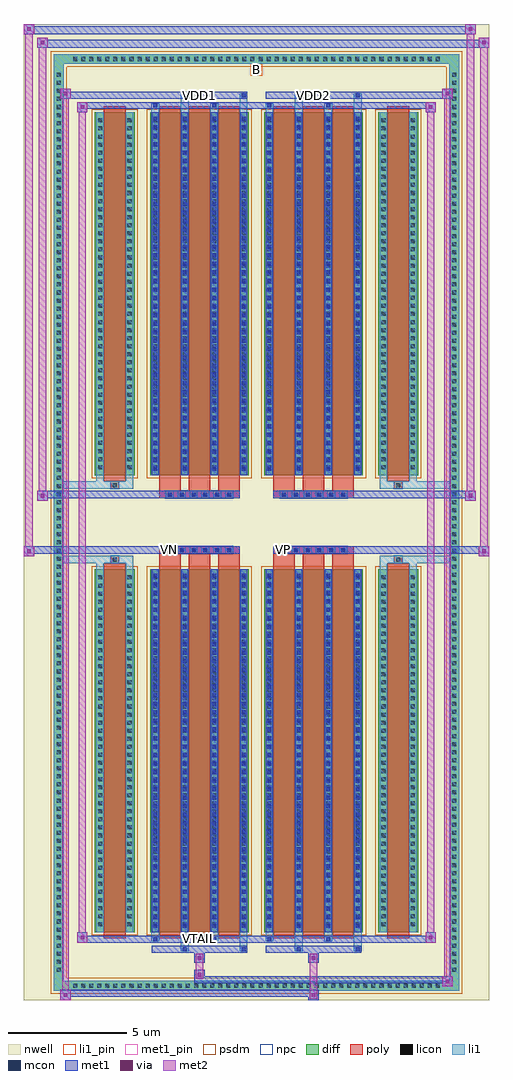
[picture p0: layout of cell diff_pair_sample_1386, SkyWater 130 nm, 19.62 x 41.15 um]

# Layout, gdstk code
import gdstk
lib = gdstk.Library(unit=1e-6, precision=5e-09)
def R(c, l, rs):  # rectangles x0, y0, x1, y1
    for r in rs: c.add(gdstk.rectangle(r[:2], r[2:], *l))
def A(c, l, x, y, w, h, nx, ny, dx, dy):  # array of equal rectangles
    R(c, l, [(x+i*dx, y+j*dy, x+i*dx+w, y+j*dy+h) for i in range(nx) for j in range(ny)])
def P(c, l, *ps):  # polygons
    for p in ps: c.add(gdstk.Polygon(p, *l))
nwell = (64, 20)
diff = (65, 20)
poly = (66, 20)
licon = (66, 44)
li1_pin = (67, 16)
li1 = (67, 20)
mcon = (67, 44)
met1_pin = (68, 16)
met1 = (68, 20)
via = (68, 44)
met2 = (69, 20)
psdm = (94, 20)
npc = (95, 20)

diff_pair_sample_1386 = lib.new_cell('diff_pair_sample_1386')
R(diff_pair_sample_1386, nwell, [(-9.81,-20.14,9.81,21.01), (-7.13,-18.33,-0.01,-0.805), (0.01,-18.33,7.13,-0.805), (-7.13,0.805,-0.01,18.33), (0.01,0.805,7.13,18.33)])
A(diff_pair_sample_1386, diff, -7.855, -19.74, 0.41, 0.41, 46, 2, 0.34, 39.07)
A(diff_pair_sample_1386, diff, -8.54, -19.075, 0.41, 0.41, 1, 112, 0, 0.34)
A(diff_pair_sample_1386, diff, 8.13, -19.075, 0.41, 0.41, 1, 112, 0, 0.34)
R(diff_pair_sample_1386, diff, [(-7.855,-19.74,7.855,-19.33), (-8.54,-19.075,-8.13,19.075), (8.13,-19.075,8.54,19.075), (-6.82,-17.285,-5.13,-1.985), (-4.49,-17.285,-0.32,-1.985), (0.32,-17.285,4.49,-1.985), (5.13,-17.285,6.82,-1.985), (-6.82,1.985,-5.13,17.285), (-4.49,1.985,-0.32,17.285), (0.32,1.985,4.49,17.285), (5.13,1.985,6.82,17.285), (-7.855,19.33,7.855,19.74)])
P(diff_pair_sample_1386, diff, [(8.54,19.74),(-8.54,19.74),(-8.54,-19.33),(-8.13,-19.33),(-8.13,19.33),(8.13,19.33),(8.13,-19.33),(-8.13,-19.33),(-8.54,-19.33),(-8.54,-19.74),(8.54,-19.74)])
A(diff_pair_sample_1386, poly, -4.1, -17.535, 0.91, 15.8, 3, 2, 1.24, 19.27)
A(diff_pair_sample_1386, poly, 0.71, -17.535, 0.91, 15.8, 3, 2, 1.24, 19.27)
A(diff_pair_sample_1386, poly, -4.1, -1.735, 0.91, 0.4, 3, 2, 1.24, 3.07)
A(diff_pair_sample_1386, poly, 0.71, -1.735, 0.91, 0.4, 3, 2, 1.24, 3.07)
A(diff_pair_sample_1386, poly, -3.82, -1.335, 0.33, 0.33, 6, 2, 0.5, 2.34)
A(diff_pair_sample_1386, poly, 0.99, -1.335, 0.33, 0.33, 6, 2, 0.5, 2.34)
R(diff_pair_sample_1386, poly, [(-6.43,-17.535,-5.52,-1.735), (5.52,-17.535,6.43,-1.735), (-6.14,-1.735,-5.81,-1.405), (-6.14,-1.735,-5.81,-1.405), (5.81,-1.735,6.14,-1.405), (5.81,-1.735,6.14,-1.405), (-4.1,-1.335,-0.71,-1.005), (0.71,-1.335,4.1,-1.005), (-4.1,1.005,-0.71,1.335), (0.71,1.005,4.1,1.335), (-6.14,1.405,-5.81,1.735), (-6.14,1.405,-5.81,1.735), (5.81,1.405,6.14,1.735), (5.81,1.405,6.14,1.735), (-6.43,1.735,-5.52,17.535), (5.52,1.735,6.43,17.535)])
A(diff_pair_sample_1386, licon, -7.735, -19.62, 0.17, 0.17, 46, 2, 0.34, 39.07)
A(diff_pair_sample_1386, licon, -8.42, -18.955, 0.17, 0.17, 1, 112, 0, 0.34)
A(diff_pair_sample_1386, licon, 8.25, -18.955, 0.17, 0.17, 1, 112, 0, 0.34)
A(diff_pair_sample_1386, licon, -6.68, -17.03, 0.17, 0.17, 1, 44, 0, 0.34)
A(diff_pair_sample_1386, licon, -5.44, -17.03, 0.17, 0.17, 1, 44, 0, 0.34)
A(diff_pair_sample_1386, licon, -4.35, -17.03, 0.17, 0.17, 4, 44, 1.24, 0.34)
A(diff_pair_sample_1386, licon, 0.46, -17.03, 0.17, 0.17, 4, 44, 1.24, 0.34)
A(diff_pair_sample_1386, licon, 5.27, -17.03, 0.17, 0.17, 1, 44, 0, 0.34)
A(diff_pair_sample_1386, licon, 6.51, -17.03, 0.17, 0.17, 1, 44, 0, 0.34)
A(diff_pair_sample_1386, licon, -3.74, -1.255, 0.17, 0.17, 6, 2, 0.5, 2.34)
A(diff_pair_sample_1386, licon, 1.07, -1.255, 0.17, 0.17, 6, 2, 0.5, 2.34)
A(diff_pair_sample_1386, licon, -6.68, 2.24, 0.17, 0.17, 1, 44, 0, 0.34)
A(diff_pair_sample_1386, licon, -5.44, 2.24, 0.17, 0.17, 1, 44, 0, 0.34)
A(diff_pair_sample_1386, licon, -4.35, 2.24, 0.17, 0.17, 4, 44, 1.24, 0.34)
A(diff_pair_sample_1386, licon, 0.46, 2.24, 0.17, 0.17, 4, 44, 1.24, 0.34)
A(diff_pair_sample_1386, licon, 5.27, 2.24, 0.17, 0.17, 1, 44, 0, 0.34)
A(diff_pair_sample_1386, licon, 6.51, 2.24, 0.17, 0.17, 1, 44, 0, 0.34)
R(diff_pair_sample_1386, licon, [(-6.06,-1.655,-5.89,-1.485), (5.89,-1.655,6.06,-1.485), (-6.06,1.485,-5.89,1.655), (5.89,1.485,6.06,1.655)])
R(diff_pair_sample_1386, li1_pin, [(-0.25,18.83,0.25,19.33)])
A(diff_pair_sample_1386, li1, -7.815, -19.7, 0.33, 0.33, 46, 2, 0.34, 39.07)
A(diff_pair_sample_1386, li1, -8.5, -19.035, 0.33, 0.33, 1, 112, 0, 0.34)
A(diff_pair_sample_1386, li1, 8.17, -19.035, 0.33, 0.33, 1, 112, 0, 0.34)
A(diff_pair_sample_1386, li1, -4.43, -17.285, 0.33, 15.3, 4, 2, 1.24, 19.27)
A(diff_pair_sample_1386, li1, 0.38, -17.285, 0.33, 15.3, 4, 2, 1.24, 19.27)
A(diff_pair_sample_1386, li1, -6.76, -17.11, 0.33, 0.33, 1, 44, 0, 0.34)
A(diff_pair_sample_1386, li1, -5.52, -17.11, 0.33, 0.33, 1, 44, 0, 0.34)
A(diff_pair_sample_1386, li1, -4.43, -17.11, 0.33, 0.33, 4, 44, 1.24, 0.34)
A(diff_pair_sample_1386, li1, 0.38, -17.11, 0.33, 0.33, 4, 44, 1.24, 0.34)
A(diff_pair_sample_1386, li1, 5.19, -17.11, 0.33, 0.33, 1, 44, 0, 0.34)
A(diff_pair_sample_1386, li1, 6.43, -17.11, 0.33, 0.33, 1, 44, 0, 0.34)
A(diff_pair_sample_1386, li1, -4.35, -17.1, 0.17, 0.17, 4, 42, 1.24, 0.36)
A(diff_pair_sample_1386, li1, -4.35, -17.1, 0.17, 14.93, 4, 2, 1.24, 19.27)
A(diff_pair_sample_1386, li1, 0.46, -17.1, 0.17, 0.17, 4, 42, 1.24, 0.36)
A(diff_pair_sample_1386, li1, 0.46, -17.1, 0.17, 14.93, 4, 2, 1.24, 19.27)
A(diff_pair_sample_1386, li1, -3.82, -1.335, 0.33, 0.33, 6, 2, 0.5, 2.34)
A(diff_pair_sample_1386, li1, 0.99, -1.335, 0.33, 0.33, 6, 2, 0.5, 2.34)
A(diff_pair_sample_1386, li1, -6.76, 2.16, 0.33, 0.33, 1, 44, 0, 0.34)
A(diff_pair_sample_1386, li1, -5.52, 2.16, 0.33, 0.33, 1, 44, 0, 0.34)
A(diff_pair_sample_1386, li1, -4.43, 2.16, 0.33, 0.33, 4, 44, 1.24, 0.34)
A(diff_pair_sample_1386, li1, 0.38, 2.16, 0.33, 0.33, 4, 44, 1.24, 0.34)
A(diff_pair_sample_1386, li1, 5.19, 2.16, 0.33, 0.33, 1, 44, 0, 0.34)
A(diff_pair_sample_1386, li1, 6.43, 2.16, 0.33, 0.33, 1, 44, 0, 0.34)
A(diff_pair_sample_1386, li1, -4.35, 2.17, 0.17, 0.17, 4, 42, 1.24, 0.36)
A(diff_pair_sample_1386, li1, 0.46, 2.17, 0.17, 0.17, 4, 42, 1.24, 0.36)
R(diff_pair_sample_1386, li1, [(-8.54,-19.74,-8.13,-19.33), (-8.54,-19.74,-8.13,-19.33), (-8.13,-19.74,8.13,-19.33), (8.13,-19.74,8.54,-19.33), (8.13,-19.74,8.54,-19.33), (-8.54,-19.33,-8.13,19.33), (8.13,-19.33,8.54,19.33), (-3.19,-18.09,-2.86,-17.285), (-3.11,-18.09,-2.94,-17.92), (-0.71,-18.09,-0.38,-17.285), (-0.63,-18.09,-0.46,-17.92), (1.62,-18.09,1.95,-17.285), (1.7,-18.09,1.87,-17.92), (4.1,-18.09,4.43,-17.285), (4.18,-18.09,4.35,-17.92), (-4.43,-17.66,-4.1,-17.285), (-4.35,-17.66,-4.18,-17.49), (-1.95,-17.66,-1.62,-17.285), (-1.87,-17.66,-1.7,-17.49), (0.38,-17.66,0.71,-17.285), (0.46,-17.66,0.63,-17.49), (2.86,-17.66,3.19,-17.285), (2.94,-17.66,3.11,-17.49), (-6.76,-17.285,-6.43,-1.985), (-5.52,-17.285,-5.19,-1.985), (5.19,-17.285,5.52,-1.985), (6.43,-17.285,6.76,-1.985), (-6.76,-1.985,-6.43,-1.405), (-5.52,-1.985,-5.19,-1.405), (5.19,-1.985,5.52,-1.405), (6.43,-1.985,6.76,-1.405), (-8.54,-1.735,-6.14,-1.405), (-6.76,-1.735,-6.14,-1.405), (-6.14,-1.735,-5.81,-1.405), (-5.81,-1.735,-5.19,-1.405), (5.19,-1.735,5.81,-1.405), (5.81,-1.735,6.14,-1.405), (5.81,-1.735,8.54,-1.405), (6.14,-1.735,6.76,-1.405), (-8.54,1.405,-6.14,1.735), (-6.76,1.405,-6.14,1.735), (-6.76,1.405,-6.43,1.985), (-6.14,1.405,-5.81,1.735), (-5.81,1.405,-5.19,1.735), (-5.52,1.405,-5.19,1.985), (5.19,1.405,5.81,1.735), (5.19,1.405,5.52,1.985), (5.81,1.405,6.14,1.735), (5.81,1.405,8.54,1.735), (6.14,1.405,6.76,1.735), (6.43,1.405,6.76,1.985), (-6.76,1.985,-6.43,17.285), (-5.52,1.985,-5.19,17.285), (5.19,1.985,5.52,17.285), (6.43,1.985,6.76,17.285), (-4.43,17.285,-4.1,17.66), (-3.19,17.285,-2.86,18.09), (-1.95,17.285,-1.62,17.66), (-0.71,17.285,-0.38,18.09), (0.38,17.285,0.71,17.66), (1.62,17.285,1.95,18.09), (2.86,17.285,3.19,17.66), (4.1,17.285,4.43,18.09), (-4.35,17.49,-4.18,17.66), (-1.87,17.49,-1.7,17.66), (0.46,17.49,0.63,17.66), (2.94,17.49,3.11,17.66), (-3.11,17.92,-2.94,18.09), (-0.63,17.92,-0.46,18.09), (1.7,17.92,1.87,18.09), (4.18,17.92,4.35,18.09), (-8.54,19.33,-8.13,19.74), (-8.54,19.33,-8.13,19.74), (-8.13,19.33,8.13,19.74), (8.13,19.33,8.54,19.74), (8.13,19.33,8.54,19.74)])
A(diff_pair_sample_1386, mcon, -4.35, -17.1, 0.17, 0.17, 4, 42, 1.24, 0.36)
A(diff_pair_sample_1386, mcon, 0.46, -17.1, 0.17, 0.17, 4, 42, 1.24, 0.36)
A(diff_pair_sample_1386, mcon, -3.74, -1.255, 0.17, 0.17, 6, 2, 0.5, 2.34)
A(diff_pair_sample_1386, mcon, 1.07, -1.255, 0.17, 0.17, 6, 2, 0.5, 2.34)
A(diff_pair_sample_1386, mcon, -4.35, 2.17, 0.17, 0.17, 4, 42, 1.24, 0.36)
A(diff_pair_sample_1386, mcon, 0.46, 2.17, 0.17, 0.17, 4, 42, 1.24, 0.36)
R(diff_pair_sample_1386, mcon, [(-3.11,-18.09,-2.94,-17.92), (-0.63,-18.09,-0.46,-17.92), (1.7,-18.09,1.87,-17.92), (4.18,-18.09,4.35,-17.92), (-4.35,-17.66,-4.18,-17.49), (-1.87,-17.66,-1.7,-17.49), (0.46,-17.66,0.63,-17.49), (2.94,-17.66,3.11,-17.49), (-4.35,17.49,-4.18,17.66), (-1.87,17.49,-1.7,17.66), (0.46,17.49,0.63,17.66), (2.94,17.49,3.11,17.66), (-3.11,17.92,-2.94,18.09), (-0.63,17.92,-0.46,18.09), (1.7,17.92,1.87,18.09), (4.18,17.92,4.35,18.09)])
R(diff_pair_sample_1386, met1_pin, [(-2.54,-17.7,-2.27,-17.43), (-3.79,-1.295,-3.52,-1.025), (1.02,-1.295,1.29,-1.025), (-2.54,17.88,-2.27,18.15), (2.27,17.88,2.54,18.15)])
A(diff_pair_sample_1386, met1, -4.41, -17.285, 0.29, 15.3, 4, 2, 1.24, 19.27)
A(diff_pair_sample_1386, met1, 0.4, -17.285, 0.29, 15.3, 4, 2, 1.24, 19.27)
A(diff_pair_sample_1386, met1, -4.41, -17.16, 0.29, 0.29, 4, 42, 1.24, 0.36)
A(diff_pair_sample_1386, met1, 0.4, -17.16, 0.29, 0.29, 4, 42, 1.24, 0.36)
A(diff_pair_sample_1386, met1, -3.8, -1.315, 0.29, 0.29, 6, 2, 0.5, 2.34)
A(diff_pair_sample_1386, met1, 1.01, -1.315, 0.29, 0.29, 6, 2, 0.5, 2.34)
A(diff_pair_sample_1386, met1, -4.41, 2.11, 0.29, 0.29, 4, 42, 1.24, 0.36)
A(diff_pair_sample_1386, met1, 0.4, 2.11, 0.29, 0.29, 4, 42, 1.24, 0.36)
R(diff_pair_sample_1386, met1, [(-8.27,-20.14,-7.84,-19.71), (2.19,-20.14,2.62,-19.71), (-8.27,-20,2.62,-19.71), (7.84,-19.57,8.27,-19.14), (-2.62,-19.43,8.27,-19.14), (-2.62,-19.29,-2.19,-18.86), (-2.62,-18.58,-2.19,-18.15), (2.19,-18.58,2.62,-18.15), (-4.41,-18.15,-0.4,-17.86), (-3.17,-18.15,-2.88,-17.86), (-0.69,-18.15,-0.4,-17.86), (0.4,-18.15,4.41,-17.86), (1.64,-18.15,1.93,-17.86), (4.12,-18.15,4.41,-17.86), (-7.56,-17.72,-7.13,-17.29), (-7.56,-17.72,-4.41,-17.43), (-4.41,-17.72,-4.12,-17.43), (-4.41,-17.72,-0.4,-17.43), (-1.93,-17.72,-1.64,-17.43), (-0.4,-17.72,0.4,-17.43), (0.4,-17.72,0.69,-17.43), (0.4,-17.72,4.41,-17.43), (2.88,-17.72,3.17,-17.43), (4.41,-17.72,7.56,-17.43), (7.13,-17.72,7.56,-17.29), (-9.81,-1.435,-9.38,-1.005), (9.38,-1.435,9.81,-1.005), (-9.81,-1.335,-0.71,-1.005), (-4.1,-1.335,-0.71,-1.005), (0.71,-1.335,4.1,-1.005), (0.71,-1.335,9.81,-1.005), (-9.24,0.905,-8.81,1.335), (8.81,0.905,9.24,1.335), (-9.24,1.005,-4.1,1.335), (-4.1,1.005,-0.71,1.335), (0.71,1.005,4.1,1.335), (4.1,1.005,9.24,1.335), (-7.56,17.29,-7.13,17.72), (7.13,17.29,7.56,17.72), (-7.56,17.43,-4.41,17.72), (-4.41,17.43,-4.12,17.72), (-4.41,17.43,-0.4,17.72), (-1.93,17.43,-1.64,17.72), (-0.4,17.43,0.4,17.72), (0.4,17.43,0.69,17.72), (0.4,17.43,4.41,17.72), (2.88,17.43,3.17,17.72), (4.41,17.43,7.56,17.72), (-8.27,17.86,-7.84,18.29), (-8.27,17.86,-4.41,18.15), (-4.41,17.86,-0.4,18.15), (-3.17,17.86,-2.88,18.15), (-0.69,17.86,-0.4,18.15), (0.4,17.86,4.41,18.15), (1.64,17.86,1.93,18.15), (4.12,17.86,4.41,18.15), (4.41,17.86,8.27,18.15), (7.84,17.86,8.27,18.29), (-9.24,20.01,-8.81,20.44), (-9.24,20.01,-7.13,20.34), (-7.13,20.01,7.13,20.34), (7.13,20.01,9.81,20.34), (9.38,20.01,9.81,20.44), (-9.81,20.58,-9.38,21.01), (-9.81,20.58,-7.13,20.91), (-7.13,20.58,7.13,20.91), (7.13,20.58,9.24,20.91), (8.81,20.58,9.24,21.01)])
R(diff_pair_sample_1386, via, [(-8.13,-20,-7.98,-19.85), (2.33,-20,2.48,-19.85), (7.98,-19.43,8.13,-19.28), (-2.48,-19.15,-2.33,-19), (-2.48,-18.44,-2.33,-18.29), (2.33,-18.44,2.48,-18.29), (-7.42,-17.58,-7.27,-17.43), (7.27,-17.58,7.42,-17.43), (-9.67,-1.295,-9.52,-1.145), (9.52,-1.295,9.67,-1.145), (-9.1,1.045,-8.95,1.195), (8.95,1.045,9.1,1.195), (-7.42,17.43,-7.27,17.58), (7.27,17.43,7.42,17.58), (-8.13,18,-7.98,18.15), (7.98,18,8.13,18.15), (-9.1,20.15,-8.95,20.3), (9.52,20.15,9.67,20.3), (-9.67,20.72,-9.52,20.87), (8.95,20.72,9.1,20.87)])
R(diff_pair_sample_1386, met2, [(-8.27,-20.14,-7.84,-19.71), (-8.2,-20.14,-7.91,18.29), (-7.91,-20.14,-7.84,-19.71), (-8.22,-20.09,-7.89,-19.76), (2.24,-20.09,2.57,-19.76), (2.24,-19.76,2.57,-18.53), (7.84,-19.57,8.27,-19.14), (7.91,-19.57,8.2,18.29), (8.2,-19.57,8.27,-19.14), (7.89,-19.52,8.22,-19.19), (-2.57,-19.24,-2.24,-18.91), (-2.57,-18.91,-2.24,-18.53), (-2.57,-18.53,-2.24,-18.2), (2.24,-18.53,2.57,-18.2), (-7.56,-17.72,-7.13,-17.29), (-7.49,-17.72,-7.2,17.72), (-7.2,-17.72,-7.13,-17.29), (7.13,-17.72,7.56,-17.29), (7.2,-17.72,7.49,17.72), (7.49,-17.72,7.56,-17.29), (-7.51,-17.67,-7.18,-17.34), (7.18,-17.67,7.51,-17.34), (-9.81,-1.435,-9.38,-1.005), (-9.76,-1.435,-9.43,21.01), (-9.43,-1.435,-9.38,-1.005), (9.38,-1.435,9.81,-1.005), (9.43,-1.435,9.76,20.44), (9.76,-1.435,9.81,-1.005), (-9.76,-1.385,-9.43,-1.055), (9.43,-1.385,9.76,-1.055), (-9.24,0.905,-8.81,1.335), (-9.19,0.905,-8.86,20.44), (-8.86,0.905,-8.81,1.335), (8.81,0.905,9.24,1.335), (8.86,0.905,9.19,21.01), (9.19,0.905,9.24,1.335), (-9.19,0.955,-8.86,1.285), (8.86,0.955,9.19,1.285), (-7.56,17.29,-7.13,17.72), (-7.2,17.29,-7.13,17.72), (7.13,17.29,7.56,17.72), (7.49,17.29,7.56,17.72), (-7.51,17.34,-7.18,17.67), (7.18,17.34,7.51,17.67), (-8.27,17.86,-7.84,18.29), (-7.91,17.86,-7.84,18.29), (7.84,17.86,8.27,18.29), (8.2,17.86,8.27,18.29), (-8.22,17.91,-7.89,18.24), (7.89,17.91,8.22,18.24), (-9.24,20.01,-8.81,20.44), (-8.86,20.01,-8.81,20.44), (9.38,20.01,9.81,20.44), (9.76,20.01,9.81,20.44), (-9.19,20.06,-8.86,20.39), (9.43,20.06,9.76,20.39), (-9.81,20.58,-9.38,21.01), (-9.43,20.58,-9.38,21.01), (8.81,20.58,9.24,21.01), (9.19,20.58,9.24,21.01), (-9.76,20.63,-9.43,20.96), (8.86,20.63,9.19,20.96)])
R(diff_pair_sample_1386, psdm, [(-6.95,-17.415,-5,-1.855), (-4.62,-17.415,-0.19,-1.855), (0.19,-17.415,4.62,-1.855), (5,-17.415,6.95,-1.855), (-6.95,1.855,-5,17.415), (-4.62,1.855,-0.19,17.415), (0.19,1.855,4.62,17.415), (5,1.855,6.95,17.415)])
P(diff_pair_sample_1386, psdm, [(8.67,19.87),(-8.67,19.87),(-8.67,-19.2),(-8,-19.2),(-8,19.2),(8,19.2),(8,-19.2),(-8,-19.2),(-8.67,-19.2),(-8.67,-19.87),(8.67,-19.87)])
A(diff_pair_sample_1386, npc, -3.84, -1.355, 0.37, 0.37, 6, 2, 0.5, 2.34)
A(diff_pair_sample_1386, npc, 0.97, -1.355, 0.37, 0.37, 6, 2, 0.5, 2.34)
R(diff_pair_sample_1386, npc, [(-6.16,-1.755,-5.79,-1.385), (5.79,-1.755,6.16,-1.385), (-3.84,-1.355,-2.97,-0.985), (-3.84,-1.355,-2.97,-0.985), (-3.34,-1.355,-2.47,-0.985), (-3.34,-1.355,-2.47,-0.985), (-2.84,-1.355,-1.97,-0.985), (-2.84,-1.355,-1.97,-0.985), (-2.34,-1.355,-1.47,-0.985), (-2.34,-1.355,-1.47,-0.985), (-1.84,-1.355,-0.97,-0.985), (-1.84,-1.355,-0.97,-0.985), (0.97,-1.355,1.84,-0.985), (0.97,-1.355,1.84,-0.985), (1.47,-1.355,2.34,-0.985), (1.47,-1.355,2.34,-0.985), (1.97,-1.355,2.84,-0.985), (1.97,-1.355,2.84,-0.985), (2.47,-1.355,3.34,-0.985), (2.47,-1.355,3.34,-0.985), (2.97,-1.355,3.84,-0.985), (2.97,-1.355,3.84,-0.985), (-3.84,0.985,-2.97,1.355), (-3.84,0.985,-2.97,1.355), (-3.34,0.985,-2.47,1.355), (-3.34,0.985,-2.47,1.355), (-2.84,0.985,-1.97,1.355), (-2.84,0.985,-1.97,1.355), (-2.34,0.985,-1.47,1.355), (-2.34,0.985,-1.47,1.355), (-1.84,0.985,-0.97,1.355), (-1.84,0.985,-0.97,1.355), (0.97,0.985,1.84,1.355), (0.97,0.985,1.84,1.355), (1.47,0.985,2.34,1.355), (1.47,0.985,2.34,1.355), (1.97,0.985,2.84,1.355), (1.97,0.985,2.84,1.355), (2.47,0.985,3.34,1.355), (2.47,0.985,3.34,1.355), (2.97,0.985,3.84,1.355), (2.97,0.985,3.84,1.355), (-6.16,1.385,-5.79,1.755), (5.79,1.385,6.16,1.755)])
diff_pair_sample_1386.add(gdstk.Label('VTAIL', (-2.405,-17.565), layer=68, texttype=5))
diff_pair_sample_1386.add(gdstk.Label('VN', (-3.655,-1.16), layer=68, texttype=5))
diff_pair_sample_1386.add(gdstk.Label('VP', (1.155,-1.16), layer=68, texttype=5))
diff_pair_sample_1386.add(gdstk.Label('B', (0,19.08), layer=67, texttype=5))
diff_pair_sample_1386.add(gdstk.Label('VDD2', (2.405,18.015), layer=68, texttype=5))
diff_pair_sample_1386.add(gdstk.Label('VDD1', (-2.405,18.015), layer=68, texttype=5))

lib.write_gds('diff_pair_sample_1386.gds')
